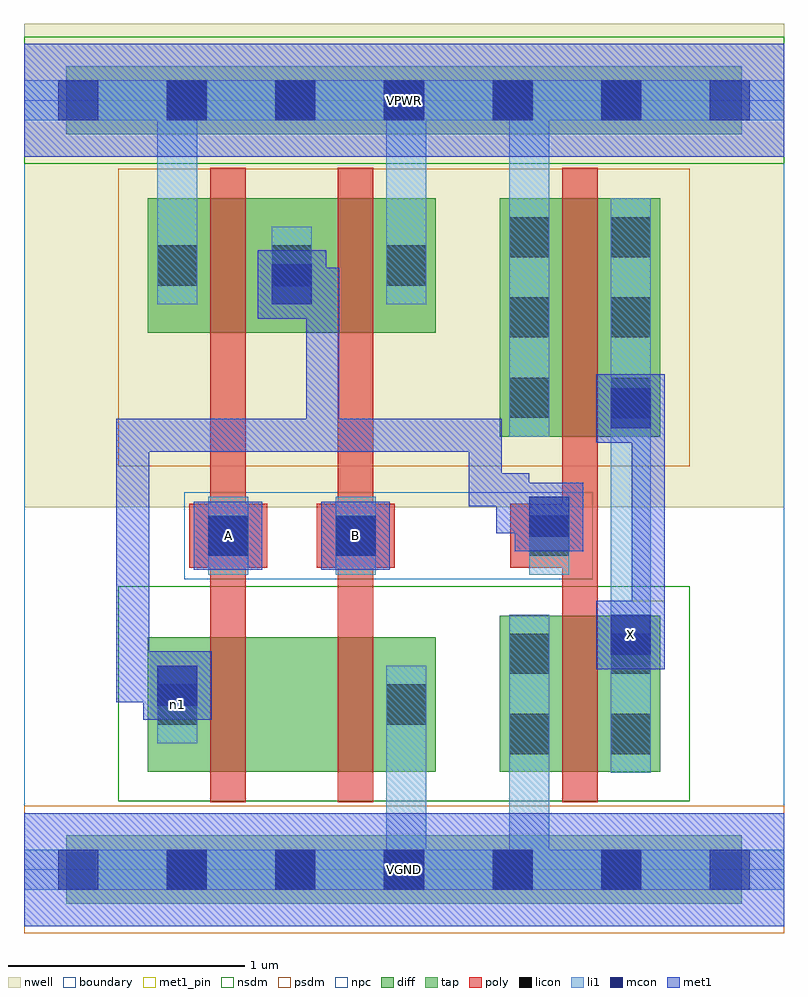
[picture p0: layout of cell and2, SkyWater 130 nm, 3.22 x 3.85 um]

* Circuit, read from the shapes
.subckt and2 A B VGND VPWR X n1
XM1 n2 A n1 VGND sky130_fd_pr__nfet_01v8 w=0.57 l=0.15
XM2 VGND B n2 VGND sky130_fd_pr__nfet_01v8 w=0.57 l=0.15
XM3 X n1 VGND VGND sky130_fd_pr__nfet_01v8 w=0.66 l=0.15
XM4 n1 A VPWR VPWR sky130_fd_pr__pfet_01v8 w=0.57 l=0.15
XM5 VPWR B n1 VPWR sky130_fd_pr__pfet_01v8 w=0.57 l=0.15
XM6 X n1 VPWR VPWR sky130_fd_pr__pfet_01v8 w=1.01 l=0.15
.ends

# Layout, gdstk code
import gdstk
lib = gdstk.Library(unit=1e-6, precision=1e-09)
def R(c, l, rs):  # rectangles x0, y0, x1, y1
    for r in rs: c.add(gdstk.rectangle(r[:2], r[2:], *l))
def A(c, l, x, y, w, h, nx, ny, dx, dy):  # array of equal rectangles
    R(c, l, [(x+i*dx, y+j*dy, x+i*dx+w, y+j*dy+h) for i in range(nx) for j in range(ny)])
nwell = (64, 20)
diff = (65, 20)
tap = (65, 44)
poly = (66, 20)
licon = (66, 44)
li1 = (67, 20)
mcon = (67, 44)
met1_pin = (68, 16)
met1 = (68, 20)
nsdm = (93, 44)
psdm = (94, 20)
npc = (95, 20)
boundary = (235, 4)

and2 = lib.new_cell('and2')
R(and2, nwell, [(0,1.535,3.22,3.585)])
R(and2, diff, [(0.525,0.415,1.745,0.985), (2.015,0.415,2.695,1.075), (2.015,1.835,2.695,2.845), (0.525,2.275,1.745,2.845)])
R(and2, tap, [(0.18,-0.145,3.04,0.145), (0.18,3.115,3.04,3.405)])
R(and2, poly, [(0.79,0.285,0.94,2.975), (1.33,0.285,1.48,2.975), (2.28,0.285,2.43,2.975), (0.7,1.28,1.03,1.55), (1.24,1.28,1.57,1.55), (2.06,1.28,2.39,1.55)])
A(and2, licon, 0.605, -0.085, 0.17, 0.17, 5, 2, 0.46, 3.26)
A(and2, licon, 2.055, 1.915, 0.17, 0.17, 1, 3, 0, 0.34)
A(and2, licon, 2.485, 1.915, 0.17, 0.17, 1, 3, 0, 0.34)
A(and2, licon, 0.565, 2.475, 0.17, 0.17, 3, 1, 0.485, 0)
R(and2, licon, [(2.055,0.49,2.225,0.66), (2.485,0.49,2.655,0.66), (0.565,0.615,0.735,0.785), (1.535,0.615,1.705,0.785), (2.055,0.83,2.225,1), (2.485,0.83,2.655,1), (0.78,1.33,0.95,1.5), (1.32,1.33,1.49,1.5), (2.14,1.33,2.31,1.5)])
A(and2, li1, 0.565, 2.395, 0.17, 0.33, 3, 1, 0.485, 0)
R(and2, li1, [(0,-0.085,3.22,0.085), (1.535,-0.085,1.705,0.865), (2.055,-0.085,2.225,1.08), (2.055,0.41,2.225,1.08), (2.485,0.41,2.655,1.08), (2.485,0.41,2.655,2.845), (0.565,0.535,0.735,0.865), (1.535,0.535,1.705,0.865), (0.78,1.25,0.95,1.58), (1.32,1.25,1.49,1.58), (2.14,1.25,2.31,1.58), (2.055,1.835,2.225,2.845), (2.055,1.835,2.225,3.345), (2.485,1.835,2.655,2.845), (0.565,2.395,0.735,3.345), (1.535,2.395,1.705,3.345), (0,3.175,3.22,3.345)])
A(and2, mcon, 0.145, -0.085, 0.17, 0.17, 7, 2, 0.46, 3.26)
R(and2, mcon, [(0.565,0.695,0.735,0.865), (2.485,0.91,2.655,1.08), (0.78,1.33,0.95,1.5), (1.32,1.33,1.49,1.5), (2.14,1.41,2.31,1.58), (2.485,1.87,2.655,2.04), (1.05,2.395,1.22,2.565)])
R(and2, met1_pin, [(0,-0.24,3.22,0.24), (2.425,0.85,2.715,1.14), (0.72,1.27,1.01,1.56), (1.26,1.27,1.55,1.56), (0,3.02,3.22,3.5)])
R(and2, met1, [(0,-0.24,3.22,0.24), (0.505,0.635,0.795,0.925), (0.39,0.71,0.72,0.85), (0.39,0.71,0.53,0.99), (0.39,0.85,0.53,1.91), (2.425,0.85,2.715,1.14), (2.5,0.925,2.715,1.065), (2.575,0.925,2.715,1.22), (2.575,1.08,2.715,2.025), (0.72,1.27,1.01,1.56), (1.26,1.27,1.55,1.56), (2.08,1.35,2.37,1.64), (2,1.425,2.295,1.565), (2,1.425,2.14,1.68), (1.885,1.54,2.025,1.91), (1.885,1.54,2.14,1.68), (0.39,1.77,1.335,1.91), (1.195,1.77,1.335,2.37), (1.195,1.77,2.025,1.91), (2.425,1.81,2.715,2.1), (2.5,1.885,2.715,2.025), (1.195,2.23,1.335,2.55), (0.99,2.335,1.28,2.625), (1.065,2.41,1.335,2.55), (0,3.02,3.22,3.5)])
R(and2, nsdm, [(0.4,0.29,2.82,1.2), (0,2.99,3.22,3.53)])
R(and2, psdm, [(0,-0.27,3.22,0.27), (0.4,1.71,2.82,2.97)])
R(and2, npc, [(0.68,1.23,2.41,1.6)])
R(and2, boundary, [(0,0,3.22,3.26)])
and2.add(gdstk.Label('n1', (0.65,0.7), layer=67, texttype=5))
and2.add(gdstk.Label('A', (0.865,1.415), layer=68, texttype=5))
and2.add(gdstk.Label('B', (1.405,1.415), layer=68, texttype=5))
and2.add(gdstk.Label('X', (2.57,0.995), layer=68, texttype=5))
and2.add(gdstk.Label('VPWR', (1.61,3.26), layer=68, texttype=5))
and2.add(gdstk.Label('VGND', (1.61,0), layer=68, texttype=5))
and2.add(gdstk.Label('A', (0.865,1.415), layer=68, texttype=16))
and2.add(gdstk.Label('B', (1.405,1.415), layer=68, texttype=16))
and2.add(gdstk.Label('X', (2.57,0.995), layer=68, texttype=16))
and2.add(gdstk.Label('VPWR', (1.61,3.26), layer=68, texttype=16))
and2.add(gdstk.Label('VGND', (1.61,0), layer=68, texttype=16))

lib.write_gds('and2.gds')
